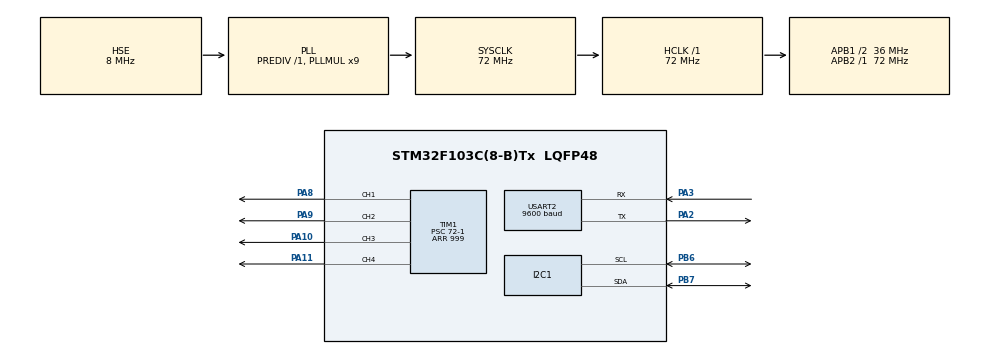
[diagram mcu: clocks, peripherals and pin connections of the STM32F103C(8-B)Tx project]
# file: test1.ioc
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I2C1.I2C_Mode=I2C_Fast
Mcu.Family=STM32F1
Mcu.Name=STM32F103C(8-B)Tx
Mcu.Package=LQFP48
NVIC.I2C1_ER_IRQn=true\:0\:0\:false\:false\:true\:true\:true\:true
NVIC.I2C1_EV_IRQn=true\:0\:0\:false\:false\:true\:true\:true\:true
NVIC.PriorityGroup=NVIC_PRIORITYGROUP_4
NVIC.TIM2_IRQn=true\:3\:0\:true\:false\:true\:true\:true\:true
NVIC.USART2_IRQn=true\:4\:0\:true\:false\:true\:true\:true\:true
PA10.Signal=S_TIM1_CH3
PA11.Signal=S_TIM1_CH4
PA13.Mode=Serial_Wire
PA13.Signal=SYS_JTMS-SWDIO
PA14.Mode=Serial_Wire
PA14.Signal=SYS_JTCK-SWCLK
PA2.Mode=Asynchronous
PA2.Signal=USART2_TX
PA3.Mode=Asynchronous
PA3.Signal=USART2_RX
PA8.Signal=S_TIM1_CH1
PA9.Signal=S_TIM1_CH2
PB6.Mode=I2C
PB6.Signal=I2C1_SCL
PB7.Mode=I2C
PB7.Signal=I2C1_SDA
PC14-OSC32_IN.Mode=LSE-External-Clock-Source
PC14-OSC32_IN.Signal=RCC_OSC32_IN
PC15-OSC32_OUT.Mode=LSE-External-Clock-Source
PC15-OSC32_OUT.Signal=RCC_OSC32_OUT
PD0-OSC_IN.Mode=HSE-External-Oscillator
PD0-OSC_IN.Signal=RCC_OSC_IN
PD1-OSC_OUT.Mode=HSE-External-Oscillator
PD1-OSC_OUT.Signal=RCC_OSC_OUT
ProjectManager.HeapSize=0x200
ProjectManager.StackSize=0x400
ProjectManager.TargetToolchain=STM32CubeIDE
RCC.AHBFreq_Value=72000000
RCC.APB1CLKDivider=RCC_HCLK_DIV2
RCC.APB1Freq_Value=36000000
RCC.APB1TimFreq_Value=72000000
RCC.APB2Freq_Value=72000000
RCC.APB2TimFreq_Value=72000000
RCC.HCLKFreq_Value=72000000
RCC.PLLMUL=RCC_PLL_MUL9
RCC.PLLSourceVirtual=RCC_PLLSOURCE_HSE
RCC.SYSCLKFreq_VALUE=72000000
RCC.SYSCLKSource=RCC_SYSCLKSOURCE_PLLCLK
RCC.USBFreq_Value=72000000
SH.S_TIM1_CH1.0=TIM1_CH1,PWM Generation1 CH1
SH.S_TIM1_CH2.0=TIM1_CH2,PWM Generation2 CH2
SH.S_TIM1_CH3.0=TIM1_CH3,PWM Generation3 CH3
SH.S_TIM1_CH4.0=TIM1_CH4,PWM Generation4 CH4
TIM1.AutoReloadPreload=TIM_AUTORELOAD_PRELOAD_DISABLE
TIM1.AutomaticOutput=TIM_AUTOMATICOUTPUT_ENABLE
TIM1.Channel-PWM\ Generation1\ CH1=TIM_CHANNEL_1
TIM1.Channel-PWM\ Generation2\ CH2=TIM_CHANNEL_2
TIM1.Channel-PWM\ Generation3\ CH3=TIM_CHANNEL_3
TIM1.Channel-PWM\ Generation4\ CH4=TIM_CHANNEL_4
TIM1.Period=999
TIM1.Prescaler=72-1
TIM2.AutoReloadPreload=TIM_AUTORELOAD_PRELOAD_ENABLE
TIM2.Period=999
TIM2.Prescaler=71
USART2.BaudRate=9600
USART2.VirtualMode=VM_ASYNC
VP_TIM1_VS_ClockSourceINT.Mode=Internal
VP_TIM2_VS_ClockSourceINT.Mode=Internal
board=custom

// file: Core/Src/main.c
/* USER CODE BEGIN Header */
/**
 ******************************************************************************
 * @file           : main.c
 * @brief          : Main program body
 ******************************************************************************
 * @attention
 *
 * Copyright (c) 2022 STMicroelectronics.
 * All rights reserved.
 *
 * This software is licensed under terms that can be found in the LICENSE file
 * in the root directory of this software component.
 * If no LICENSE file comes with this software, it is provided AS-IS.
 *
 ******************************************************************************
 */
/* USER CODE END Header */
#include "main.h"
#include "i2c.h"
#include "tim.h"
#include "usart.h"
#include "gpio.h"

/* USER CODE BEGIN Includes */
#include <stdio.h>
#include "mpu6050.h"
/* USER CODE END Includes */

/* USER CODE BEGIN PD */
#define BYTE0(dwTemp) (*(char *)(&dwTemp))
#define BYTE1(dwTemp) (*((char *)(&dwTemp) + 1))
/* USER CODE END PD */

/* USER CODE BEGIN PV */
MPU6050_t MPU6050;

/* USER CODE END PV */

void SystemClock_Config(void);

/* USER CODE BEGIN 0 */
int a = 0;
uint8_t rece_buf[4] = { 0 };
uint8_t type = 1;

//定时器回调函�?
void HAL_TIM_PeriodElapsedCallback(TIM_HandleTypeDef *htim) {
//	__HAL_TIM_SET_COMPARE(&htim1, TIM_CHANNEL_2, 999);
//	__HAL_TIM_SET_COMPARE(&htim1, TIM_CHANNEL_3, 0);
//	a++;
//	if (a > 999) {
//		a = 0;
//	}
//	if (a < 500) {
//		__HAL_TIM_SET_COMPARE(&htim1, TIM_CHANNEL_1, 0);
//		__HAL_TIM_SET_COMPARE(&htim1, TIM_CHANNEL_2, 0);
//	__HAL_TIM_SET_COMPARE(&htim1, TIM_CHANNEL_3, 999);
//	__HAL_TIM_SET_COMPARE(&htim1, TIM_CHANNEL_4, 999);
//	} else {
//	__HAL_TIM_SET_COMPARE(&htim1, TIM_CHANNEL_1, 999);
//	__HAL_TIM_SET_COMPARE(&htim1, TIM_CHANNEL_2, 999);
//		__HAL_TIM_SET_COMPARE(&htim1, TIM_CHANNEL_3, 999);
//		__HAL_TIM_SET_COMPARE(&htim1, TIM_CHANNEL_4, 999);
//	}

//	HAL_GPIO_WritePin(pwm1_GPIO_Port, pwm1_Pin, GPIO_PIN_SET);
//	__HAL_TIM_SET_COMPARE(&htim1, TIM_CHANNEL_1, a);

//	if ( rece_buf[0] != 0) {
//		type = rece_buf[0];
//	}
//	if (type == 1) {
//		__HAL_TIM_SET_COMPARE(&htim1, TIM_CHANNEL_1, 999);
//		__HAL_TIM_SET_COMPARE(&htim1, TIM_CHANNEL_2, 0);
//		__HAL_TIM_SET_COMPARE(&htim1, TIM_CHANNEL_3, 999);
//		__HAL_TIM_SET_COMPARE(&htim1, TIM_CHANNEL_4, 0);
//	} else {
//		__HAL_TIM_SET_COMPARE(&htim1, TIM_CHANNEL_1, 0);
//		__HAL_TIM_SET_COMPARE(&htim1, TIM_CHANNEL_2, 999);
//		__HAL_TIM_SET_COMPARE(&htim1, TIM_CHANNEL_3, 0);
//		__HAL_TIM_SET_COMPARE(&htim1, TIM_CHANNEL_4, 999);
//	}

}

// 串口接收回调函数
void HAL_UART_RxCpltCallback(UART_HandleTypeDef *huart) {
	if (huart->Instance == USART2) {
		HAL_UART_Transmit(&huart2, (uint8_t*) rece_buf, 4, 100);
		memset(rece_buf, 0, 4);
		// 重新使能接收中断
		HAL_UART_Receive_IT(&huart2, (uint8_t*) rece_buf, 1);
	}
}

// 匿名上位机数据格�?
void nimingModelData(uint8_t * buf, int16_t rol, int16_t pit, int16_t yaw) {
	uint8_t cnt = 0;

	buf[cnt++] = 0xAA;
	buf[cnt++] = 0xFF;
	buf[cnt++] = 0x03;
	buf[cnt++] = 7;

	buf[cnt++] = BYTE0(rol);
	buf[cnt++] = BYTE1(rol);

	buf[cnt++] = BYTE0(pit);
	buf[cnt++] = BYTE1(pit);

	buf[cnt++] = BYTE0(yaw);
	buf[cnt++] = BYTE1(yaw);

	buf[cnt++] = 2;

	uint8_t sc = 0;
	uint8_t ac = 0;
	for (int i = 0; i < cnt; i++) {
		sc += buf[i];
		ac += sc;
	}

	buf[cnt++] = sc;
	buf[cnt++] = ac;
}
/* USER CODE END 0 */

int main(void)
{

  /* MCU Configuration--------------------------------------------------------*/

  /* Reset of all peripherals, Initializes the Flash interface and the Systick. */
  HAL_Init();

  /* Configure the system clock */
  SystemClock_Config();

  /* Initialize all configured peripherals */
  MX_GPIO_Init();
  MX_TIM1_Init();
  MX_TIM2_Init();
  MX_USART2_UART_Init();
  MX_I2C1_Init();
  /* USER CODE BEGIN 2 */
	while (MPU6050_Init(&hi2c1) == 1);
	HAL_TIM_Base_Start_IT(&htim2);

	HAL_TIM_PWM_Start(&htim1, TIM_CHANNEL_1);
	HAL_TIM_PWM_Start(&htim1, TIM_CHANNEL_2);
	HAL_TIM_PWM_Start(&htim1, TIM_CHANNEL_3);
	HAL_TIM_PWM_Start(&htim1, TIM_CHANNEL_4);

	HAL_UART_Receive_IT(&huart2, (uint8_t*) rece_buf, 1);
//  HAL_UART_Transmit_IT(&huart2, (uint8_t*)rece_buf, 4);
  /* USER CODE END 2 */

  /* Infinite loop */
	while (1) {

    /* USER CODE BEGIN 3 */
		MPU6050_Read_All(&hi2c1, &MPU6050);

		int16_t KalmanAngleX = (int16_t)(MPU6050.KalmanAngleX * 100);
		int16_t KalmanAngleY = (int16_t)(MPU6050.KalmanAngleY * 100);
		int16_t Gz = (int16_t)(0);

		uint8_t buf[13]={0};

		nimingModelData(buf, KalmanAngleX, KalmanAngleY, Gz);

//		sprintf(buffer, "%.12f", MPU6050.KalmanAngleX * 1000);	//9���������?
		HAL_UART_Transmit(&huart2, (uint8_t *)buf, 15, 300);
		HAL_Delay (100);

	}
  /* USER CODE END 3 */
}

void SystemClock_Config(void)
{
  RCC_OscInitTypeDef RCC_OscInitStruct = {0};
  RCC_ClkInitTypeDef RCC_ClkInitStruct = {0};

  /** Initializes the RCC Oscillators according to the specified parameters
  * in the RCC_OscInitTypeDef structure.
  */
  RCC_OscInitStruct.OscillatorType = RCC_OSCILLATORTYPE_HSE;
  RCC_OscInitStruct.HSEState = RCC_HSE_ON;
  RCC_OscInitStruct.HSEPredivValue = RCC_HSE_PREDIV_DIV1;
  RCC_OscInitStruct.HSIState = RCC_HSI_ON;
  RCC_OscInitStruct.PLL.PLLState = RCC_PLL_ON;
  RCC_OscInitStruct.PLL.PLLSource = RCC_PLLSOURCE_HSE;
  RCC_OscInitStruct.PLL.PLLMUL = RCC_PLL_MUL9;
  if (HAL_RCC_OscConfig(&RCC_OscInitStruct) != HAL_OK)
  {
    Error_Handler();
  }

  /** Initializes the CPU, AHB and APB buses clocks
  */
  RCC_ClkInitStruct.ClockType = RCC_CLOCKTYPE_HCLK|RCC_CLOCKTYPE_SYSCLK
                              |RCC_CLOCKTYPE_PCLK1|RCC_CLOCKTYPE_PCLK2;
  RCC_ClkInitStruct.SYSCLKSource = RCC_SYSCLKSOURCE_PLLCLK;
  RCC_ClkInitStruct.AHBCLKDivider = RCC_SYSCLK_DIV1;
  RCC_ClkInitStruct.APB1CLKDivider = RCC_HCLK_DIV2;
  RCC_ClkInitStruct.APB2CLKDivider = RCC_HCLK_DIV1;

  if (HAL_RCC_ClockConfig(&RCC_ClkInitStruct, FLASH_LATENCY_2) != HAL_OK)
  {
    Error_Handler();
  }
}

void Error_Handler(void)
{
	__disable_irq();
	while (1) {
	}
}
